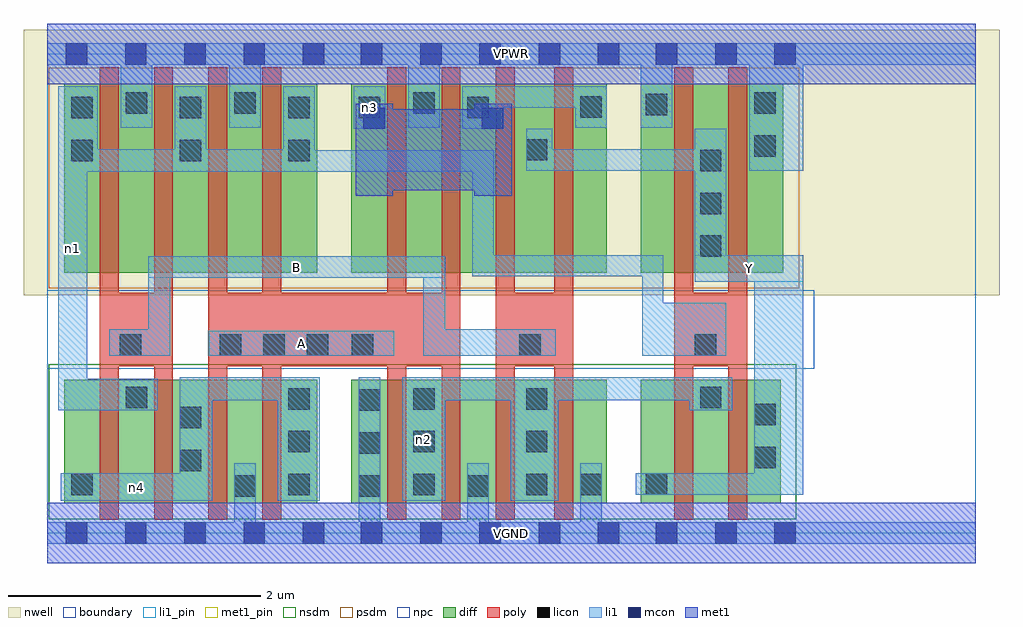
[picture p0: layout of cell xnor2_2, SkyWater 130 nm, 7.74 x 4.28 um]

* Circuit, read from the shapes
.subckt xnor2_2 A B VGND VPWR Y n1 n2 n3 n4
XM1 n1 B n4 VSUBS sky130_fd_pr__nfet_01v8 w=0.98 l=0.15 m=2
XM2 VGND A n4 VSUBS sky130_fd_pr__nfet_01v8 w=0.98 l=0.15 m=2
XM3 n2 A VGND VSUBS sky130_fd_pr__nfet_01v8 w=0.98 l=0.15 m=2
XM4 n2 B VGND VSUBS sky130_fd_pr__nfet_01v8 w=0.98 l=0.15 m=2
XM5 n2 n1 Y VSUBS sky130_fd_pr__nfet_01v8 w=0.98 l=0.15 m=2
XM6 VPWR B n1 n5 sky130_fd_pr__pfet_01v8 w=1.5 l=0.15 m=2
XM7 VPWR A n1 n5 sky130_fd_pr__pfet_01v8 w=1.5 l=0.15 m=2
XM8 VPWR A n3 n5 sky130_fd_pr__pfet_01v8 w=1.5 l=0.15 m=2
XM9 Y B n3 n5 sky130_fd_pr__pfet_01v8 w=1.5 l=0.15 m=2
XM10 Y n1 VPWR n5 sky130_fd_pr__pfet_01v8 w=1.5 l=0.15 m=2
.ends

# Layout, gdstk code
import gdstk
lib = gdstk.Library(unit=1e-6, precision=1e-09)
def R(c, l, rs):  # rectangles x0, y0, x1, y1
    for r in rs: c.add(gdstk.rectangle(r[:2], r[2:], *l))
def A(c, l, x, y, w, h, nx, ny, dx, dy):  # array of equal rectangles
    R(c, l, [(x+i*dx, y+j*dy, x+i*dx+w, y+j*dy+h) for i in range(nx) for j in range(ny)])
nwell = (64, 20)
diff = (65, 20)
poly = (66, 20)
licon = (66, 44)
li1_pin = (67, 16)
li1 = (67, 20)
mcon = (67, 44)
met1_pin = (68, 16)
met1 = (68, 20)
nsdm = (93, 44)
psdm = (94, 20)
npc = (95, 20)
boundary = (235, 4)

xnor2_2 = lib.new_cell('xnor2_2')
R(xnor2_2, nwell, [(-0.19,1.885,7.55,3.99), (0,1.885,7.36,3.99)])
R(xnor2_2, diff, [(0.135,0.235,2.14,1.215), (2.41,0.235,4.435,1.215), (4.705,0.235,5.815,1.215), (0.135,2.065,2.14,3.565), (2.41,2.065,4.435,3.565), (4.705,2.065,5.835,3.565)])
A(xnor2_2, poly, 0.415, 0.105, 0.15, 3.59, 4, 1, 0.43, 0)
A(xnor2_2, poly, 2.695, 0.105, 0.15, 3.59, 3, 1, 0.43, 0)
R(xnor2_2, poly, [(4.02,0.105,4.17,3.695), (4.97,0.105,5.12,3.695), (5.4,0.105,5.55,3.695), (0.415,1.325,0.995,1.905), (1.275,1.325,3.275,1.905), (3.555,1.325,4.17,1.905), (4.97,1.325,5.55,1.905)])
A(xnor2_2, licon, 2.47, 0.29, 0.17, 0.17, 1, 3, 0, 0.34)
A(xnor2_2, licon, 1.91, 0.3, 0.17, 0.17, 1, 3, 0, 0.34)
A(xnor2_2, licon, 2.9, 0.3, 0.17, 0.17, 1, 3, 0, 0.34)
A(xnor2_2, licon, 3.795, 0.3, 0.17, 0.17, 1, 3, 0, 0.34)
A(xnor2_2, licon, 1.365, 1.405, 0.17, 0.17, 3, 1, 0.345, 0)
A(xnor2_2, licon, 5.175, 2.19, 0.17, 0.17, 1, 3, 0, 0.34)
A(xnor2_2, licon, 0.19, 2.95, 0.17, 0.17, 3, 2, 0.86, 0.34)
R(xnor2_2, licon, [(1.48,0.29,1.65,0.46), (3.33,0.29,3.5,0.46), (0.19,0.3,0.36,0.47), (4.225,0.3,4.395,0.47), (4.745,0.305,4.915,0.475), (1.05,0.49,1.22,0.66), (5.605,0.515,5.775,0.685), (1.05,0.83,1.22,1), (5.605,0.855,5.775,1.025), (0.62,0.99,0.79,1.16), (5.175,0.99,5.345,1.16), (0.575,1.405,0.745,1.575), (2.415,1.405,2.585,1.575), (3.74,1.405,3.91,1.575), (5.135,1.405,5.305,1.575), (3.795,2.955,3.965,3.125), (5.605,2.985,5.775,3.155), (2.47,3.29,2.64,3.46), (3.33,3.29,3.5,3.46), (4.225,3.295,4.395,3.465), (4.745,3.315,4.915,3.485), (0.62,3.325,0.79,3.495), (1.48,3.325,1.65,3.495), (2.9,3.325,3.07,3.495), (5.605,3.325,5.775,3.495)])
R(xnor2_2, li1_pin, [(1.28,1.405,2.75,1.605), (5.135,1.995,5.995,2.205), (0.8,2.025,3.155,2.195)])
R(xnor2_2, li1, [(0,-0.085,7.36,0.085), (1.48,-0.085,1.65,0.555), (2.47,-0.085,2.64,1.235), (3.33,-0.085,3.5,0.555), (4.225,-0.085,4.395,0.555), (0.105,0.255,1.305,0.475), (1.05,0.255,1.305,1.235), (1.825,0.255,2.16,1.235), (2.815,0.255,3.155,1.235), (3.675,0.255,4.05,1.235), (4.665,0.305,5.995,0.475), (5.605,0.305,5.995,2.205), (0.085,0.975,0.315,3.545), (0.085,0.975,0.875,1.225), (5.09,0.975,5.43,1.235), (1.05,1.055,2.16,1.235), (2.815,1.055,5.43,1.235), (0.49,1.405,0.975,1.615), (0.8,1.405,0.975,2.195), (1.28,1.405,2.75,1.605), (2.98,1.405,3.155,2.195), (2.98,1.405,4.03,1.615), (4.715,1.405,5.385,1.825), (4.715,1.405,4.885,2.205), (5.135,1.995,5.385,3.205), (5.135,1.995,5.995,2.205), (0.8,2.025,3.155,2.195), (3.37,2.035,4.885,2.205), (3.37,2.035,3.54,3.035), (0.085,2.865,3.54,3.035), (0.085,2.865,0.4,3.545), (0.085,2.865,2.12,3.045), (1.01,2.865,1.26,3.545), (1.87,2.865,2.12,3.545), (3.795,2.875,5.385,3.045), (3.795,2.875,4.005,3.205), (5.565,2.875,5.995,3.885), (2.43,3.205,2.68,3.545), (3.29,3.205,3.62,3.545), (0.58,3.215,0.83,3.885), (1.44,3.215,1.69,3.885), (2.86,3.215,3.11,3.885), (4.185,3.215,4.435,3.545), (4.705,3.215,4.955,3.885), (3.29,3.375,4.435,3.545), (0,3.715,7.36,3.885)])
A(xnor2_2, mcon, 0.145, -0.085, 0.17, 0.17, 5, 2, 0.47, 3.8)
A(xnor2_2, mcon, 2.485, -0.085, 0.17, 0.17, 5, 2, 0.47, 3.8)
A(xnor2_2, mcon, 4.825, -0.085, 0.17, 0.17, 3, 2, 0.47, 3.8)
R(xnor2_2, mcon, [(2.505,3.205,2.675,3.375), (3.445,3.205,3.615,3.375)])
R(xnor2_2, met1_pin, [(0,-0.24,7.36,0.24), (0,3.56,7.36,4.04)])
R(xnor2_2, met1, [(0,-0.24,7.36,0.24), (2.445,2.675,2.74,3.405), (3.385,2.675,3.68,3.405), (2.445,2.72,3.68,3.36), (0,3.56,7.36,4.04)])
R(xnor2_2, nsdm, [(0.01,0.11,5.94,1.34)])
R(xnor2_2, psdm, [(0.01,1.94,5.96,3.69)])
R(xnor2_2, npc, [(0,1.305,6.08,1.925)])
R(xnor2_2, boundary, [(0,0,7.36,3.8)])
xnor2_2.add(gdstk.Label('A', (2.015,1.505), layer=67, texttype=5))
xnor2_2.add(gdstk.Label('B', (1.977,2.11), layer=67, texttype=5))
xnor2_2.add(gdstk.Label('Y', (5.565,2.1), layer=67, texttype=5))
xnor2_2.add(gdstk.Label('n4', (0.705,0.365), layer=67, texttype=5))
xnor2_2.add(gdstk.Label('n2', (2.985,0.745), layer=67, texttype=5))
xnor2_2.add(gdstk.Label('n1', (0.2,2.26), layer=67, texttype=5))
xnor2_2.add(gdstk.Label('n3', (2.555,3.375), layer=67, texttype=5))
xnor2_2.add(gdstk.Label('VPWR', (3.68,3.8), layer=68, texttype=5))
xnor2_2.add(gdstk.Label('VGND', (3.68,0), layer=68, texttype=5))
xnor2_2.add(gdstk.Label('A', (2.015,1.505), layer=67, texttype=16))
xnor2_2.add(gdstk.Label('B', (1.977,2.11), layer=67, texttype=16))
xnor2_2.add(gdstk.Label('Y', (5.565,2.1), layer=67, texttype=16))
xnor2_2.add(gdstk.Label('VPWR', (3.68,3.8), layer=68, texttype=16))
xnor2_2.add(gdstk.Label('VGND', (3.68,0), layer=68, texttype=16))

lib.write_gds('xnor2_2.gds')
